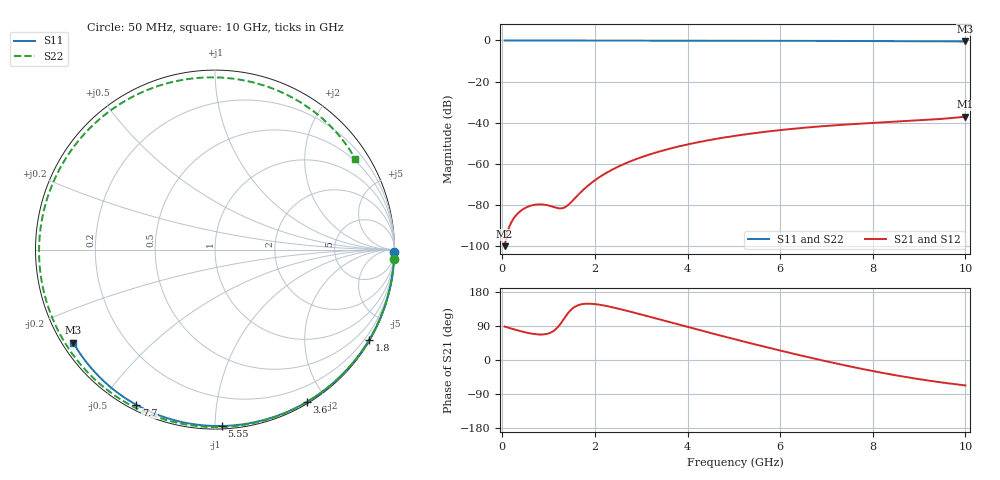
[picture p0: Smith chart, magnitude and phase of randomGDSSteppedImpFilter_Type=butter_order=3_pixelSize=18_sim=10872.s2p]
! freq	dB(S11)	phase(S11)	dB(S12)	phase(S12)
!  dB(S21)	phase(S21)	dB(S22)	phase(S22)
!S-par simulation data
#  GHz  S  DB  R 50
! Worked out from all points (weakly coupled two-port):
!   200 points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, 50 MHz to 10 GHz, reference 50 ohm
!   highest |S21| = -37.06 dB at 10 GHz (marker M1); lowest = -100.1 dB at 50 MHz (marker M2)
!   lowest |S11| = -0.5 dB at 10 GHz (marker M3), VSWR 35.07, Z = 1.55 - j14.9 ohm
!   |S11| at or under -10 dB: nowhere
!   |S22| runs from -0.6 to 0.0 dB; largest |S21 - S12| = 0
!   S11 on the Smith chart (normalised r, x): 50 MHz: open; 1.8 GHz: 0.03, -3.70; 3.6 GHz: 0.02, -1.77; 5.55 GHz: 0.02, -1.04; 7.7 GHz: 0.02, -0.61; 10 GHz: 0.03, -0.30
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0.05  -0.00 -0.9  -100.07 88.2  -100.07 88.2  -0.00 -2.9
0.4  -0.01 -6.8  -82.85 75.9  -82.85 75.9  -0.03 -23.0
0.75  -0.02 -12.7  -79.78 67.7  -79.78 67.7  -0.05 -42.4
1.05  -0.02 -17.8  -80.60 72.5  -80.60 72.5  -0.07 -58.2
1.4  -0.03 -23.6  -80.45 120.6  -80.45 120.6  -0.09 -75.4
1.45  -0.03 -24.4  -79.48 128.1  -79.48 128.1  -0.09 -77.7
1.75  -0.04 -29.4  -72.63 147.8  -72.63 147.8  -0.10 -91.2
1.8  -0.04 -30.2  -71.61 148.4  -71.61 148.4  -0.10 -93.3
2.1  -0.05 -35.1  -66.45 145.8  -66.45 145.8  -0.11 -105.6
2.45  -0.05 -40.8  -61.97 137.1  -61.97 137.1  -0.12 -118.8
2.9  -0.06 -48.0  -57.63 123.3  -57.63 123.3  -0.13 -134.3
3.4  -0.07 -55.8  -53.97 107.0  -53.97 107.0  -0.14 -150.0
3.6  -0.08 -58.9  -52.74 100.4  -52.74 100.4  -0.14 -155.9
4.3  -0.10 -69.5  -49.19 77.6  -49.19 77.6  -0.17 -175.2
5.05  -0.12 -80.6  -46.31 53.8  -46.31 53.8  -0.20 165.5
5.55  -0.14 -87.7  -44.78 38.4  -44.78 38.4  -0.22 153.1
6.1  -0.17 -95.4  -43.37 22.0  -43.37 22.0  -0.24 139.5
6.7  -0.20 -103.6  -42.11 4.8  -42.11 4.8  -0.27 124.6
7.7  -0.27 -116.9  -40.51 -21.8  -40.51 -21.8  -0.33 99.2
8.35  -0.32 -125.4  -39.69 -37.2  -39.69 -37.2  -0.38 81.8
9.2  -0.40 -136.4  -38.60 -54.3  -38.60 -54.3  -0.47 57.8
10  -0.50 -146.7  -37.06 -67.1  -37.06 -67.1  -0.62 32.8
